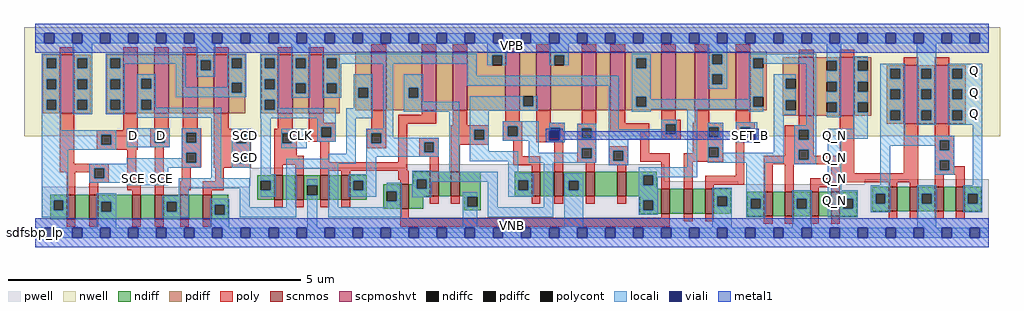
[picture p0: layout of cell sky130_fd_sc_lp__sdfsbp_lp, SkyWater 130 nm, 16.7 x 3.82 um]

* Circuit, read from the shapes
.subckt sky130_fd_sc_lp__sdfsbp_lp CLK D SCD SCE SET_B VGND VNB VPB VPWR Q Q_N
XM1 n1 SCE n2 VNB sky130_fd_pr__nfet_01v8 w=0.42 l=0.15
XM2 VGND SCE n1 VNB sky130_fd_pr__nfet_01v8 w=0.42 l=0.15
XM3 n3 n2 VGND VNB sky130_fd_pr__nfet_01v8 w=0.42 l=0.15
XM4 n4 D n3 VNB sky130_fd_pr__nfet_01v8 w=0.42 l=0.15
XM5 n5 SCE n4 VNB sky130_fd_pr__nfet_01v8 w=0.42 l=0.15
XM6 VGND SCD n5 VNB sky130_fd_pr__nfet_01v8 w=0.42 l=0.15
XM7 n6 CLK n7 VNB sky130_fd_pr__nfet_01v8 w=0.42 l=0.15
XM8 VGND CLK n6 VNB sky130_fd_pr__nfet_01v8 w=0.42 l=0.15
XM9 n8 n7 VGND VNB sky130_fd_pr__nfet_01v8 w=0.42 l=0.15
XM10 n9 n7 n8 VNB sky130_fd_pr__nfet_01v8 w=0.42 l=0.15
XM11 n10 n7 n4 VNB sky130_fd_pr__nfet_01v8 w=0.42 l=0.15
XM12 n11 n9 n10 VNB sky130_fd_pr__nfet_01v8 w=0.42 l=0.15
XM13 VGND n12 n11 VNB sky130_fd_pr__nfet_01v8 w=0.42 l=0.15
XM14 n13 n10 n12 VNB sky130_fd_pr__nfet_01v8 w=0.42 l=0.15
XM15 VGND SET_B n13 VNB sky130_fd_pr__nfet_01v8 w=0.42 l=0.15
XM16 n14 n10 VGND VNB sky130_fd_pr__nfet_01v8 w=0.42 l=0.15
XM17 n15 n9 n14 VNB sky130_fd_pr__nfet_01v8 w=0.42 l=0.15
XM18 n16 n7 n15 VNB sky130_fd_pr__nfet_01v8 w=0.42 l=0.15
XM19 n17 n18 n16 VNB sky130_fd_pr__nfet_01v8 w=0.42 l=0.15
XM20 VGND SET_B n17 VNB sky130_fd_pr__nfet_01v8 w=0.42 l=0.15
XM21 n19 n15 n18 VNB sky130_fd_pr__nfet_01v8 w=0.42 l=0.15
XM22 VGND n15 n19 VNB sky130_fd_pr__nfet_01v8 w=0.42 l=0.15
XM23 n20 n15 VGND VNB sky130_fd_pr__nfet_01v8 w=0.42 l=0.15
XM24 Q_N n15 n20 VNB sky130_fd_pr__nfet_01v8 w=0.42 l=0.15
XM25 n21 n15 n22 VNB sky130_fd_pr__nfet_01v8 w=0.42 l=0.15
XM26 VGND n15 n21 VNB sky130_fd_pr__nfet_01v8 w=0.42 l=0.15
XM27 n23 n22 VGND VNB sky130_fd_pr__nfet_01v8 w=0.42 l=0.15
XM28 Q n22 n23 VNB sky130_fd_pr__nfet_01v8 w=0.42 l=0.15
XM29 VPWR SCE n2 VPB sky130_fd_pr__pfet_01v8_hvt w=1 l=0.25
XM30 n4 n2 n24 VPB sky130_fd_pr__pfet_01v8_hvt w=1 l=0.25
XM31 n25 D n4 VPB sky130_fd_pr__pfet_01v8_hvt w=1 l=0.25
XM32 VPWR SCE n25 VPB sky130_fd_pr__pfet_01v8_hvt w=1 l=0.25
XM33 n24 SCD VPWR VPB sky130_fd_pr__pfet_01v8_hvt w=1 l=0.25
XM34 VPWR CLK n7 VPB sky130_fd_pr__pfet_01v8_hvt w=1 l=0.25
XM35 n9 n7 VPWR VPB sky130_fd_pr__pfet_01v8_hvt w=1 l=0.25
XM36 n10 n9 n4 VPB sky130_fd_pr__pfet_01v8_hvt w=1 l=0.25
XM37 n26 n7 n10 VPB sky130_fd_pr__pfet_01v8_hvt w=1 l=0.25
XM38 VPWR n12 n26 VPB sky130_fd_pr__pfet_01v8_hvt w=1 l=0.25
XM39 n12 n10 VPWR VPB sky130_fd_pr__pfet_01v8_hvt w=1 l=0.25
XM40 VPWR SET_B n12 VPB sky130_fd_pr__pfet_01v8_hvt w=1 l=0.25
XM41 n27 n10 VPWR VPB sky130_fd_pr__pfet_01v8_hvt w=1 l=0.25
XM42 n15 n7 n27 VPB sky130_fd_pr__pfet_01v8_hvt w=1 l=0.25
XM43 n28 n9 n15 VPB sky130_fd_pr__pfet_01v8_hvt w=1 l=0.25
XM44 VPWR n18 n28 VPB sky130_fd_pr__pfet_01v8_hvt w=1 l=0.25
XM45 n15 SET_B VPWR VPB sky130_fd_pr__pfet_01v8_hvt w=1 l=0.25
XM46 VPWR n15 n18 VPB sky130_fd_pr__pfet_01v8_hvt w=1 l=0.25
XM47 Q_N n15 VPWR VPB sky130_fd_pr__pfet_01v8_hvt w=1 l=0.25
XM48 VPWR n15 n22 VPB sky130_fd_pr__pfet_01v8_hvt w=1 l=0.25
XM49 Q n22 VPWR VPB sky130_fd_pr__pfet_01v8_hvt w=1 l=0.25
.ends

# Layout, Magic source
magic
tech sky130A
magscale 1 2
<< nwell >>
rect -38 331 3302 704
<< pwell >>
rect 1268 223 2153 235
rect 735 176 2153 223
rect 735 167 2406 176
rect 2839 167 3263 184
rect 735 157 3263 167
rect 25 49 3263 157
rect 0 0 3264 49
<< scnmos >>
rect 108 47 138 131
rect 186 47 216 131
rect 332 47 362 131
rect 410 47 440 131
rect 496 47 526 131
rect 574 47 604 131
rect 818 113 848 197
rect 890 113 920 197
rect 976 113 1006 197
rect 1048 113 1078 197
rect 1249 83 1279 167
rect 1351 125 1381 209
rect 1423 125 1453 209
rect 1699 125 1729 209
rect 1777 125 1807 209
rect 1885 125 1915 209
rect 1993 125 2023 209
rect 2142 66 2172 150
rect 2220 66 2250 150
rect 2293 66 2323 150
rect 2494 57 2524 141
rect 2566 57 2596 141
rect 2652 57 2682 141
rect 2724 57 2754 141
rect 2921 74 2951 158
rect 2993 74 3023 158
rect 3079 74 3109 158
rect 3151 74 3181 158
<< scpmoshvt >>
rect 84 409 134 609
rect 302 409 352 609
rect 408 409 458 609
rect 506 409 556 609
rect 612 409 662 609
rect 831 409 881 609
rect 937 409 987 609
rect 1151 419 1201 619
rect 1323 419 1373 619
rect 1429 419 1479 619
rect 1609 419 1659 619
rect 1715 419 1765 619
rect 1871 419 1921 619
rect 1969 419 2019 619
rect 2143 419 2193 619
rect 2257 419 2307 619
rect 2397 419 2447 619
rect 2614 400 2664 600
rect 2754 400 2804 600
rect 2972 374 3022 574
rect 3078 374 3128 574
<< ndiff >>
rect 761 179 818 197
rect 761 145 773 179
rect 807 145 818 179
rect 51 111 108 131
rect 51 77 63 111
rect 97 77 108 111
rect 51 47 108 77
rect 138 47 186 131
rect 216 106 332 131
rect 216 72 227 106
rect 261 72 332 106
rect 216 47 332 72
rect 362 47 410 131
rect 440 106 496 131
rect 440 72 451 106
rect 485 72 496 106
rect 440 47 496 72
rect 526 47 574 131
rect 604 96 661 131
rect 761 113 818 145
rect 848 113 890 197
rect 920 163 976 197
rect 920 129 931 163
rect 965 129 976 163
rect 920 113 976 129
rect 1006 113 1048 197
rect 1078 179 1135 197
rect 1078 145 1089 179
rect 1123 145 1135 179
rect 1294 184 1351 209
rect 1294 167 1306 184
rect 1078 113 1135 145
rect 1192 142 1249 167
rect 604 62 615 96
rect 649 62 661 96
rect 1192 108 1204 142
rect 1238 108 1249 142
rect 1192 83 1249 108
rect 1279 150 1306 167
rect 1340 150 1351 184
rect 1279 125 1351 150
rect 1381 125 1423 209
rect 1453 125 1525 209
rect 1642 180 1699 209
rect 1642 146 1654 180
rect 1688 146 1699 180
rect 1642 125 1699 146
rect 1729 125 1777 209
rect 1807 179 1885 209
rect 1807 145 1826 179
rect 1860 145 1885 179
rect 1807 125 1885 145
rect 1915 125 1993 209
rect 2023 197 2127 209
rect 2023 163 2081 197
rect 2115 163 2127 197
rect 2023 150 2127 163
rect 2023 125 2142 150
rect 1279 83 1329 125
rect 1468 123 1525 125
rect 1468 89 1479 123
rect 1513 89 1525 123
rect 2069 112 2142 125
rect 604 47 661 62
rect 1468 77 1525 89
rect 2069 78 2081 112
rect 2115 78 2142 112
rect 2069 66 2142 78
rect 2172 66 2220 150
rect 2250 66 2293 150
rect 2323 125 2380 150
rect 2323 91 2334 125
rect 2368 91 2380 125
rect 2323 66 2380 91
rect 2437 116 2494 141
rect 2437 82 2449 116
rect 2483 82 2494 116
rect 2437 57 2494 82
rect 2524 57 2566 141
rect 2596 116 2652 141
rect 2596 82 2607 116
rect 2641 82 2652 116
rect 2596 57 2652 82
rect 2682 57 2724 141
rect 2754 116 2811 141
rect 2754 82 2765 116
rect 2799 82 2811 116
rect 2754 57 2811 82
rect 2865 133 2921 158
rect 2865 99 2876 133
rect 2910 99 2921 133
rect 2865 74 2921 99
rect 2951 74 2993 158
rect 3023 133 3079 158
rect 3023 99 3034 133
rect 3068 99 3079 133
rect 3023 74 3079 99
rect 3109 74 3151 158
rect 3181 133 3237 158
rect 3181 99 3192 133
rect 3226 99 3237 133
rect 3181 74 3237 99
<< pdiff >>
rect 27 597 84 609
rect 27 563 39 597
rect 73 563 84 597
rect 27 526 84 563
rect 27 492 39 526
rect 73 492 84 526
rect 27 455 84 492
rect 27 421 39 455
rect 73 421 84 455
rect 27 409 84 421
rect 134 597 191 609
rect 134 563 145 597
rect 179 563 191 597
rect 134 526 191 563
rect 134 492 145 526
rect 179 492 191 526
rect 134 455 191 492
rect 134 421 145 455
rect 179 421 191 455
rect 134 409 191 421
rect 245 597 302 609
rect 245 563 257 597
rect 291 563 302 597
rect 245 526 302 563
rect 245 492 257 526
rect 291 492 302 526
rect 245 455 302 492
rect 245 421 257 455
rect 291 421 302 455
rect 245 409 302 421
rect 352 527 408 609
rect 352 493 363 527
rect 397 493 408 527
rect 352 455 408 493
rect 352 421 363 455
rect 397 421 408 455
rect 352 409 408 421
rect 458 409 506 609
rect 556 590 612 609
rect 556 556 567 590
rect 601 556 612 590
rect 556 409 612 556
rect 662 597 719 609
rect 662 563 673 597
rect 707 563 719 597
rect 662 514 719 563
rect 662 480 673 514
rect 707 480 719 514
rect 662 409 719 480
rect 774 597 831 609
rect 774 563 786 597
rect 820 563 831 597
rect 774 526 831 563
rect 774 492 786 526
rect 820 492 831 526
rect 774 455 831 492
rect 774 421 786 455
rect 820 421 831 455
rect 774 409 831 421
rect 881 597 937 609
rect 881 563 892 597
rect 926 563 937 597
rect 881 512 937 563
rect 881 478 892 512
rect 926 478 937 512
rect 881 409 937 478
rect 987 597 1042 609
rect 987 563 998 597
rect 1032 563 1042 597
rect 987 512 1042 563
rect 987 478 998 512
rect 1032 478 1042 512
rect 987 409 1042 478
rect 1096 496 1151 619
rect 1096 462 1106 496
rect 1140 462 1151 496
rect 1096 419 1151 462
rect 1201 496 1323 619
rect 1201 462 1278 496
rect 1312 462 1323 496
rect 1201 419 1323 462
rect 1373 419 1429 619
rect 1479 607 1609 619
rect 1479 573 1564 607
rect 1598 573 1609 607
rect 1479 419 1609 573
rect 1659 467 1715 619
rect 1659 433 1670 467
rect 1704 433 1715 467
rect 1659 419 1715 433
rect 1765 607 1871 619
rect 1765 573 1776 607
rect 1810 573 1871 607
rect 1765 419 1871 573
rect 1921 419 1969 619
rect 2019 597 2143 619
rect 2019 563 2057 597
rect 2091 563 2143 597
rect 2019 465 2143 563
rect 2019 431 2057 465
rect 2091 431 2143 465
rect 2019 419 2143 431
rect 2193 419 2257 619
rect 2307 611 2397 619
rect 2307 577 2318 611
rect 2352 577 2397 611
rect 2307 543 2397 577
rect 2307 509 2318 543
rect 2352 509 2397 543
rect 2307 419 2397 509
rect 2447 597 2504 619
rect 2447 563 2458 597
rect 2492 563 2504 597
rect 2447 465 2504 563
rect 2447 431 2458 465
rect 2492 431 2504 465
rect 2447 419 2504 431
rect 2558 527 2614 600
rect 2558 493 2569 527
rect 2603 493 2614 527
rect 2558 454 2614 493
rect 2558 420 2569 454
rect 2603 420 2614 454
rect 2558 400 2614 420
rect 2664 588 2754 600
rect 2664 554 2709 588
rect 2743 554 2754 588
rect 2664 517 2754 554
rect 2664 483 2709 517
rect 2743 483 2754 517
rect 2664 446 2754 483
rect 2664 412 2709 446
rect 2743 412 2754 446
rect 2664 400 2754 412
rect 2804 588 2861 600
rect 2804 554 2815 588
rect 2849 554 2861 588
rect 2804 517 2861 554
rect 2804 483 2815 517
rect 2849 483 2861 517
rect 2804 446 2861 483
rect 2804 412 2815 446
rect 2849 412 2861 446
rect 2804 400 2861 412
rect 2915 562 2972 574
rect 2915 528 2927 562
rect 2961 528 2972 562
rect 2915 491 2972 528
rect 2915 457 2927 491
rect 2961 457 2972 491
rect 2915 420 2972 457
rect 2915 386 2927 420
rect 2961 386 2972 420
rect 2915 374 2972 386
rect 3022 562 3078 574
rect 3022 528 3033 562
rect 3067 528 3078 562
rect 3022 491 3078 528
rect 3022 457 3033 491
rect 3067 457 3078 491
rect 3022 420 3078 457
rect 3022 386 3033 420
rect 3067 386 3078 420
rect 3022 374 3078 386
rect 3128 562 3185 574
rect 3128 528 3139 562
rect 3173 528 3185 562
rect 3128 491 3185 528
rect 3128 457 3139 491
rect 3173 457 3185 491
rect 3128 420 3185 457
rect 3128 386 3139 420
rect 3173 386 3185 420
rect 3128 374 3185 386
<< ndiffc >>
rect 773 145 807 179
rect 63 77 97 111
rect 227 72 261 106
rect 451 72 485 106
rect 931 129 965 163
rect 1089 145 1123 179
rect 615 62 649 96
rect 1204 108 1238 142
rect 1306 150 1340 184
rect 1654 146 1688 180
rect 1826 145 1860 179
rect 2081 163 2115 197
rect 1479 89 1513 123
rect 2081 78 2115 112
rect 2334 91 2368 125
rect 2449 82 2483 116
rect 2607 82 2641 116
rect 2765 82 2799 116
rect 2876 99 2910 133
rect 3034 99 3068 133
rect 3192 99 3226 133
<< pdiffc >>
rect 39 563 73 597
rect 39 492 73 526
rect 39 421 73 455
rect 145 563 179 597
rect 145 492 179 526
rect 145 421 179 455
rect 257 563 291 597
rect 257 492 291 526
rect 257 421 291 455
rect 363 493 397 527
rect 363 421 397 455
rect 567 556 601 590
rect 673 563 707 597
rect 673 480 707 514
rect 786 563 820 597
rect 786 492 820 526
rect 786 421 820 455
rect 892 563 926 597
rect 892 478 926 512
rect 998 563 1032 597
rect 998 478 1032 512
rect 1106 462 1140 496
rect 1278 462 1312 496
rect 1564 573 1598 607
rect 1670 433 1704 467
rect 1776 573 1810 607
rect 2057 563 2091 597
rect 2057 431 2091 465
rect 2318 577 2352 611
rect 2318 509 2352 543
rect 2458 563 2492 597
rect 2458 431 2492 465
rect 2569 493 2603 527
rect 2569 420 2603 454
rect 2709 554 2743 588
rect 2709 483 2743 517
rect 2709 412 2743 446
rect 2815 554 2849 588
rect 2815 483 2849 517
rect 2815 412 2849 446
rect 2927 528 2961 562
rect 2927 457 2961 491
rect 2927 386 2961 420
rect 3033 528 3067 562
rect 3033 457 3067 491
rect 3033 386 3067 420
rect 3139 528 3173 562
rect 3139 457 3173 491
rect 3139 386 3173 420
<< poly >>
rect 84 609 134 635
rect 302 609 352 635
rect 408 609 458 635
rect 506 609 556 635
rect 612 609 662 635
rect 831 609 881 635
rect 937 609 987 635
rect 1151 619 1201 645
rect 1323 619 1373 645
rect 1429 619 1479 645
rect 1609 619 1659 645
rect 1715 619 1765 645
rect 1871 619 1921 645
rect 1969 619 2019 645
rect 2143 619 2193 645
rect 2257 619 2307 645
rect 2397 619 2447 645
rect 2614 600 2664 626
rect 2754 600 2804 626
rect 84 237 134 409
rect 302 351 352 409
rect 408 358 458 409
rect 506 358 556 409
rect 211 335 352 351
rect 211 301 227 335
rect 261 301 352 335
rect 211 285 352 301
rect 394 342 460 358
rect 394 308 410 342
rect 444 308 460 342
rect 394 292 460 308
rect 502 342 568 358
rect 502 308 518 342
rect 552 308 568 342
rect 84 221 252 237
rect 84 207 202 221
rect 108 131 138 207
rect 186 187 202 207
rect 236 187 252 221
rect 186 171 252 187
rect 316 176 346 285
rect 186 131 216 171
rect 316 146 362 176
rect 332 131 362 146
rect 410 131 440 292
rect 502 274 568 308
rect 502 240 518 274
rect 552 240 568 274
rect 502 224 568 240
rect 612 356 662 409
rect 831 356 881 409
rect 937 377 987 409
rect 937 361 1029 377
rect 612 340 738 356
rect 612 306 688 340
rect 722 306 738 340
rect 612 272 738 306
rect 612 238 688 272
rect 722 238 738 272
rect 502 176 532 224
rect 612 222 738 238
rect 818 340 895 356
rect 818 306 845 340
rect 879 306 895 340
rect 937 327 979 361
rect 1013 327 1029 361
rect 1151 356 1201 419
rect 1323 404 1373 419
rect 937 311 1029 327
rect 1135 340 1201 356
rect 818 263 895 306
rect 818 233 920 263
rect 616 176 646 222
rect 818 197 848 233
rect 890 197 920 233
rect 976 242 1006 311
rect 1135 306 1151 340
rect 1185 306 1201 340
rect 1135 290 1201 306
rect 1243 374 1373 404
rect 1243 242 1273 374
rect 1429 368 1479 419
rect 1609 381 1659 419
rect 1423 352 1553 368
rect 1315 310 1381 326
rect 1315 276 1331 310
rect 1365 276 1381 310
rect 1315 260 1381 276
rect 976 212 1273 242
rect 976 197 1006 212
rect 1048 197 1078 212
rect 496 146 532 176
rect 574 146 646 176
rect 496 131 526 146
rect 574 131 604 146
rect 1243 182 1279 212
rect 1351 209 1381 260
rect 1423 318 1503 352
rect 1537 318 1553 352
rect 1423 302 1553 318
rect 1601 365 1667 381
rect 1601 331 1617 365
rect 1651 331 1667 365
rect 1601 315 1667 331
rect 1423 209 1453 302
rect 1637 262 1667 315
rect 1715 376 1765 419
rect 1715 360 1813 376
rect 1871 374 1921 419
rect 1715 326 1763 360
rect 1797 326 1813 360
rect 1715 310 1813 326
rect 1855 358 1921 374
rect 1855 324 1871 358
rect 1905 324 1921 358
rect 1969 375 2019 419
rect 2143 387 2193 419
rect 1969 345 2101 375
rect 1637 232 1729 262
rect 1699 209 1729 232
rect 1777 209 1807 310
rect 1855 290 1921 324
rect 1855 256 1871 290
rect 1905 256 1921 290
rect 1855 240 1921 256
rect 1963 281 2029 297
rect 1963 247 1979 281
rect 2013 247 2029 281
rect 1885 209 1915 240
rect 1963 231 2029 247
rect 2071 273 2101 345
rect 2143 371 2209 387
rect 2257 377 2307 419
rect 2397 378 2447 419
rect 2972 574 3022 600
rect 3078 574 3128 600
rect 2143 337 2159 371
rect 2193 337 2209 371
rect 2143 321 2209 337
rect 2251 361 2355 377
rect 2251 327 2305 361
rect 2339 327 2355 361
rect 2251 293 2355 327
rect 2251 273 2305 293
rect 2071 243 2172 273
rect 1993 209 2023 231
rect 1249 167 1279 182
rect 818 87 848 113
rect 890 87 920 113
rect 976 87 1006 113
rect 1048 87 1078 113
rect 2142 150 2172 243
rect 2220 259 2305 273
rect 2339 259 2355 293
rect 2220 243 2355 259
rect 2397 362 2463 378
rect 2614 368 2664 400
rect 2397 328 2413 362
rect 2447 328 2463 362
rect 2397 312 2463 328
rect 2566 352 2664 368
rect 2566 318 2614 352
rect 2648 318 2664 352
rect 2220 150 2250 243
rect 2397 195 2427 312
rect 2566 284 2664 318
rect 2566 264 2614 284
rect 2293 165 2427 195
rect 2494 250 2614 264
rect 2648 264 2664 284
rect 2754 264 2804 400
rect 2648 250 2804 264
rect 2494 234 2804 250
rect 2293 150 2323 165
rect 1351 99 1381 125
rect 1423 99 1453 125
rect 1699 99 1729 125
rect 1777 99 1807 125
rect 1885 99 1915 125
rect 1993 99 2023 125
rect 1249 51 1279 83
rect 2494 141 2524 234
rect 2566 141 2596 234
rect 2724 203 2804 234
rect 2972 203 3022 374
rect 3078 332 3128 374
rect 3079 316 3145 332
rect 3079 282 3095 316
rect 3129 282 3145 316
rect 3079 248 3145 282
rect 3079 214 3095 248
rect 3129 228 3145 248
rect 3129 214 3181 228
rect 2724 186 3023 203
rect 2652 173 3023 186
rect 2652 156 2754 173
rect 2921 158 2951 173
rect 2993 158 3023 173
rect 3079 198 3181 214
rect 3079 158 3109 198
rect 3151 158 3181 198
rect 2652 141 2682 156
rect 2724 141 2754 156
rect 2142 51 2172 66
rect 108 21 138 47
rect 186 21 216 47
rect 332 21 362 47
rect 410 21 440 47
rect 496 21 526 47
rect 574 21 604 47
rect 1249 21 2172 51
rect 2220 40 2250 66
rect 2293 40 2323 66
rect 2494 31 2524 57
rect 2566 31 2596 57
rect 2652 31 2682 57
rect 2724 31 2754 57
rect 2921 48 2951 74
rect 2993 48 3023 74
rect 3079 48 3109 74
rect 3151 48 3181 74
<< polycont >>
rect 227 301 261 335
rect 410 308 444 342
rect 518 308 552 342
rect 202 187 236 221
rect 518 240 552 274
rect 688 306 722 340
rect 688 238 722 272
rect 845 306 879 340
rect 979 327 1013 361
rect 1151 306 1185 340
rect 1331 276 1365 310
rect 1503 318 1537 352
rect 1617 331 1651 365
rect 1763 326 1797 360
rect 1871 324 1905 358
rect 1871 256 1905 290
rect 1979 247 2013 281
rect 2159 337 2193 371
rect 2305 327 2339 361
rect 2305 259 2339 293
rect 2413 328 2447 362
rect 2614 318 2648 352
rect 2614 250 2648 284
rect 3095 282 3129 316
rect 3095 214 3129 248
<< locali >>
rect 0 649 31 683
rect 65 649 127 683
rect 161 649 223 683
rect 257 649 319 683
rect 353 649 415 683
rect 449 649 511 683
rect 545 649 607 683
rect 641 649 703 683
rect 737 649 799 683
rect 833 649 895 683
rect 929 649 991 683
rect 1025 649 1087 683
rect 1121 649 1183 683
rect 1217 649 1279 683
rect 1313 649 1375 683
rect 1409 649 1471 683
rect 1505 649 1567 683
rect 1601 649 1663 683
rect 1697 649 1759 683
rect 1793 649 1855 683
rect 1889 649 1951 683
rect 1985 649 2047 683
rect 2081 649 2143 683
rect 2177 649 2239 683
rect 2273 649 2335 683
rect 2369 649 2431 683
rect 2465 649 2527 683
rect 2561 649 2623 683
rect 2657 649 2719 683
rect 2753 649 2815 683
rect 2849 649 2911 683
rect 2945 649 3007 683
rect 3041 649 3103 683
rect 3137 649 3199 683
rect 3233 649 3264 683
rect 23 597 89 613
rect 23 563 39 597
rect 73 563 89 597
rect 23 526 89 563
rect 23 492 39 526
rect 73 492 89 526
rect 23 455 89 492
rect 23 421 39 455
rect 73 421 89 455
rect 23 351 89 421
rect 129 597 195 649
rect 129 563 145 597
rect 179 563 195 597
rect 129 526 195 563
rect 129 492 145 526
rect 179 492 195 526
rect 129 455 195 492
rect 129 421 145 455
rect 179 421 195 455
rect 129 405 195 421
rect 241 597 515 613
rect 241 563 257 597
rect 291 579 515 597
rect 291 563 307 579
rect 241 526 307 563
rect 241 492 257 526
rect 291 492 307 526
rect 241 455 307 492
rect 241 421 257 455
rect 291 421 307 455
rect 241 405 307 421
rect 347 527 413 543
rect 347 493 363 527
rect 397 493 413 527
rect 347 455 413 493
rect 481 498 515 579
rect 551 590 617 649
rect 551 556 567 590
rect 601 556 617 590
rect 551 534 617 556
rect 657 597 723 613
rect 657 563 673 597
rect 707 563 723 597
rect 657 514 723 563
rect 657 498 673 514
rect 481 480 673 498
rect 707 480 723 514
rect 481 464 723 480
rect 770 597 836 613
rect 770 563 786 597
rect 820 563 836 597
rect 770 526 836 563
rect 770 492 786 526
rect 820 492 836 526
rect 347 421 363 455
rect 397 428 413 455
rect 770 455 836 492
rect 876 597 942 649
rect 876 563 892 597
rect 926 563 942 597
rect 876 512 942 563
rect 876 478 892 512
rect 926 478 942 512
rect 876 462 942 478
rect 982 597 1512 613
rect 982 563 998 597
rect 1032 579 1512 597
rect 1032 563 1048 579
rect 982 512 1048 563
rect 982 478 998 512
rect 1032 478 1048 512
rect 982 462 1048 478
rect 1090 496 1156 543
rect 1090 462 1106 496
rect 1140 462 1156 496
rect 397 421 637 428
rect 347 394 637 421
rect 23 335 277 351
rect 23 301 227 335
rect 261 301 277 335
rect 23 285 277 301
rect 313 342 460 358
rect 313 308 410 342
rect 444 308 460 342
rect 313 292 460 308
rect 502 342 567 358
rect 502 308 518 342
rect 552 308 567 342
rect 23 111 113 285
rect 502 274 567 308
rect 502 256 518 274
rect 313 240 518 256
rect 552 240 567 274
rect 313 237 567 240
rect 186 222 567 237
rect 186 221 455 222
rect 186 187 202 221
rect 236 187 455 221
rect 186 171 455 187
rect 603 186 637 394
rect 770 421 786 455
rect 820 426 836 455
rect 1090 426 1156 462
rect 820 421 1028 426
rect 770 392 1028 421
rect 673 340 737 356
rect 673 306 688 340
rect 722 306 737 340
rect 673 272 737 306
rect 673 238 688 272
rect 722 238 737 272
rect 673 222 737 238
rect 773 201 807 392
rect 965 361 1028 392
rect 843 340 929 356
rect 843 306 845 340
rect 879 306 929 340
rect 965 327 979 361
rect 1013 327 1028 361
rect 965 311 1028 327
rect 1064 392 1156 426
rect 843 290 929 306
rect 1064 271 1098 392
rect 1192 356 1226 579
rect 1262 496 1328 543
rect 1478 537 1512 579
rect 1548 607 1614 649
rect 1548 573 1564 607
rect 1598 573 1614 607
rect 1760 607 1826 649
rect 1760 573 1776 607
rect 1810 573 1826 607
rect 2041 597 2107 613
rect 2041 563 2057 597
rect 2091 563 2107 597
rect 1478 503 1997 537
rect 1262 462 1278 496
rect 1312 462 1328 496
rect 1262 449 1328 462
rect 1262 415 1451 449
rect 1003 254 1098 271
rect 859 237 1098 254
rect 1134 340 1226 356
rect 1134 306 1151 340
rect 1185 326 1226 340
rect 1185 310 1381 326
rect 1185 306 1331 310
rect 1134 276 1331 306
rect 1365 276 1381 310
rect 1134 260 1381 276
rect 859 220 1037 237
rect 313 162 455 171
rect 491 152 735 186
rect 23 77 63 111
rect 97 77 113 111
rect 23 53 113 77
rect 211 106 277 135
rect 491 126 525 152
rect 211 72 227 106
rect 261 72 277 106
rect 211 17 277 72
rect 435 106 525 126
rect 435 72 451 106
rect 485 72 525 106
rect 435 53 525 72
rect 599 96 665 116
rect 599 62 615 96
rect 649 62 665 96
rect 599 17 665 62
rect 701 87 735 152
rect 773 179 823 201
rect 807 145 823 179
rect 773 123 823 145
rect 859 87 893 220
rect 701 53 893 87
rect 931 163 965 184
rect 931 17 965 129
rect 1003 87 1037 220
rect 1134 201 1168 260
rect 1073 179 1168 201
rect 1073 145 1089 179
rect 1123 145 1168 179
rect 1290 209 1356 213
rect 1417 209 1451 415
rect 1487 433 1670 467
rect 1704 433 1720 467
rect 1487 417 1720 433
rect 1487 352 1553 417
rect 1487 318 1503 352
rect 1537 318 1553 352
rect 1487 279 1553 318
rect 1601 365 1723 381
rect 1601 331 1617 365
rect 1651 331 1723 365
rect 1601 315 1723 331
rect 1487 245 1653 279
rect 1290 184 1583 209
rect 1073 123 1168 145
rect 1204 142 1254 171
rect 1238 108 1254 142
rect 1290 150 1306 184
rect 1340 175 1583 184
rect 1340 150 1356 175
rect 1290 121 1356 150
rect 1463 123 1513 139
rect 1204 87 1254 108
rect 1003 53 1254 87
rect 1463 89 1479 123
rect 1463 17 1513 89
rect 1549 87 1583 175
rect 1619 204 1653 245
rect 1689 274 1723 315
rect 1759 360 1813 376
rect 1759 350 1763 360
rect 1797 326 1813 360
rect 1793 316 1813 326
rect 1759 310 1813 316
rect 1855 358 1921 374
rect 1855 324 1871 358
rect 1905 324 1921 358
rect 1855 290 1921 324
rect 1855 274 1871 290
rect 1689 256 1871 274
rect 1905 256 1921 290
rect 1689 240 1921 256
rect 1963 355 1997 503
rect 2041 465 2107 563
rect 2302 611 2368 649
rect 2302 577 2318 611
rect 2352 577 2368 611
rect 2302 543 2368 577
rect 2302 509 2318 543
rect 2352 509 2368 543
rect 2302 493 2368 509
rect 2442 597 2673 613
rect 2442 563 2458 597
rect 2492 579 2673 597
rect 2041 431 2057 465
rect 2091 457 2107 465
rect 2442 465 2492 563
rect 2442 457 2458 465
rect 2091 431 2458 457
rect 2041 423 2492 431
rect 2041 415 2107 423
rect 2143 371 2196 387
rect 2143 355 2159 371
rect 1963 337 2159 355
rect 2193 337 2196 371
rect 1963 321 2196 337
rect 1963 281 2029 321
rect 1963 247 1979 281
rect 2013 247 2029 281
rect 1619 180 1704 204
rect 1619 146 1654 180
rect 1688 146 1704 180
rect 1619 123 1704 146
rect 1740 87 1774 240
rect 1963 231 2029 247
rect 2232 224 2266 423
rect 2442 415 2492 423
rect 2528 527 2603 543
rect 2528 493 2569 527
rect 2528 454 2603 493
rect 2528 420 2569 454
rect 2528 404 2603 420
rect 2302 361 2355 377
rect 2302 327 2305 361
rect 2339 327 2355 361
rect 2302 293 2355 327
rect 2397 362 2471 378
rect 2397 328 2413 362
rect 2447 350 2471 362
rect 2397 316 2431 328
rect 2465 316 2471 350
rect 2397 310 2471 316
rect 2302 259 2305 293
rect 2339 274 2355 293
rect 2528 274 2562 404
rect 2639 368 2673 579
rect 2709 588 2759 649
rect 2743 554 2759 588
rect 2709 517 2759 554
rect 2743 483 2759 517
rect 2709 446 2759 483
rect 2743 412 2759 446
rect 2709 396 2759 412
rect 2799 588 2849 604
rect 2799 554 2815 588
rect 2799 517 2849 554
rect 2799 483 2815 517
rect 2799 446 2849 483
rect 2799 412 2815 446
rect 2339 259 2562 274
rect 2302 240 2562 259
rect 2598 352 2673 368
rect 2799 356 2849 412
rect 2598 318 2614 352
rect 2648 318 2673 352
rect 2598 284 2673 318
rect 2598 250 2614 284
rect 2648 250 2673 284
rect 1549 53 1774 87
rect 1810 179 1876 204
rect 1810 145 1826 179
rect 1860 145 1876 179
rect 1810 17 1876 145
rect 2065 197 2266 224
rect 2065 163 2081 197
rect 2115 190 2266 197
rect 2115 163 2131 190
rect 2065 112 2131 163
rect 2065 78 2081 112
rect 2115 78 2131 112
rect 2065 62 2131 78
rect 2318 125 2384 154
rect 2318 91 2334 125
rect 2368 91 2384 125
rect 2318 17 2384 91
rect 2433 116 2499 240
rect 2598 234 2673 250
rect 2713 322 2849 356
rect 2892 562 2977 578
rect 2892 528 2927 562
rect 2961 528 2977 562
rect 2892 491 2977 528
rect 2892 457 2927 491
rect 2961 457 2977 491
rect 2892 420 2977 457
rect 2892 386 2927 420
rect 2961 386 2977 420
rect 2892 332 2977 386
rect 3017 562 3083 649
rect 3017 528 3033 562
rect 3067 528 3083 562
rect 3017 491 3083 528
rect 3017 457 3033 491
rect 3067 457 3083 491
rect 3017 420 3083 457
rect 3017 386 3033 420
rect 3067 386 3083 420
rect 3017 370 3083 386
rect 3123 562 3242 578
rect 3123 528 3139 562
rect 3173 528 3242 562
rect 3123 491 3242 528
rect 3123 457 3139 491
rect 3173 457 3242 491
rect 3123 420 3242 457
rect 3123 386 3139 420
rect 3173 386 3242 420
rect 3123 370 3242 386
rect 2713 145 2759 322
rect 2892 316 3145 332
rect 2892 298 3095 316
rect 2892 162 2926 298
rect 3079 282 3095 298
rect 3129 282 3145 316
rect 3079 248 3145 282
rect 3079 214 3095 248
rect 3129 214 3145 248
rect 3079 198 3145 214
rect 3208 162 3242 370
rect 2433 82 2449 116
rect 2483 82 2499 116
rect 2433 53 2499 82
rect 2591 116 2657 145
rect 2591 82 2607 116
rect 2641 82 2657 116
rect 2591 17 2657 82
rect 2713 116 2815 145
rect 2713 82 2765 116
rect 2799 82 2815 116
rect 2713 53 2815 82
rect 2860 133 2926 162
rect 2860 99 2876 133
rect 2910 99 2926 133
rect 2860 70 2926 99
rect 3018 133 3084 162
rect 3018 99 3034 133
rect 3068 99 3084 133
rect 3018 17 3084 99
rect 3176 133 3242 162
rect 3176 99 3192 133
rect 3226 99 3242 133
rect 3176 70 3242 99
rect 0 -17 31 17
rect 65 -17 127 17
rect 161 -17 223 17
rect 257 -17 319 17
rect 353 -17 415 17
rect 449 -17 511 17
rect 545 -17 607 17
rect 641 -17 703 17
rect 737 -17 799 17
rect 833 -17 895 17
rect 929 -17 991 17
rect 1025 -17 1087 17
rect 1121 -17 1183 17
rect 1217 -17 1279 17
rect 1313 -17 1375 17
rect 1409 -17 1471 17
rect 1505 -17 1567 17
rect 1601 -17 1663 17
rect 1697 -17 1759 17
rect 1793 -17 1855 17
rect 1889 -17 1951 17
rect 1985 -17 2047 17
rect 2081 -17 2143 17
rect 2177 -17 2239 17
rect 2273 -17 2335 17
rect 2369 -17 2431 17
rect 2465 -17 2527 17
rect 2561 -17 2623 17
rect 2657 -17 2719 17
rect 2753 -17 2815 17
rect 2849 -17 2911 17
rect 2945 -17 3007 17
rect 3041 -17 3103 17
rect 3137 -17 3199 17
rect 3233 -17 3264 17
<< viali >>
rect 31 649 65 683
rect 127 649 161 683
rect 223 649 257 683
rect 319 649 353 683
rect 415 649 449 683
rect 511 649 545 683
rect 607 649 641 683
rect 703 649 737 683
rect 799 649 833 683
rect 895 649 929 683
rect 991 649 1025 683
rect 1087 649 1121 683
rect 1183 649 1217 683
rect 1279 649 1313 683
rect 1375 649 1409 683
rect 1471 649 1505 683
rect 1567 649 1601 683
rect 1663 649 1697 683
rect 1759 649 1793 683
rect 1855 649 1889 683
rect 1951 649 1985 683
rect 2047 649 2081 683
rect 2143 649 2177 683
rect 2239 649 2273 683
rect 2335 649 2369 683
rect 2431 649 2465 683
rect 2527 649 2561 683
rect 2623 649 2657 683
rect 2719 649 2753 683
rect 2815 649 2849 683
rect 2911 649 2945 683
rect 3007 649 3041 683
rect 3103 649 3137 683
rect 3199 649 3233 683
rect 1759 326 1763 350
rect 1763 326 1793 350
rect 1759 316 1793 326
rect 2431 328 2447 350
rect 2447 328 2465 350
rect 2431 316 2465 328
rect 31 -17 65 17
rect 127 -17 161 17
rect 223 -17 257 17
rect 319 -17 353 17
rect 415 -17 449 17
rect 511 -17 545 17
rect 607 -17 641 17
rect 703 -17 737 17
rect 799 -17 833 17
rect 895 -17 929 17
rect 991 -17 1025 17
rect 1087 -17 1121 17
rect 1183 -17 1217 17
rect 1279 -17 1313 17
rect 1375 -17 1409 17
rect 1471 -17 1505 17
rect 1567 -17 1601 17
rect 1663 -17 1697 17
rect 1759 -17 1793 17
rect 1855 -17 1889 17
rect 1951 -17 1985 17
rect 2047 -17 2081 17
rect 2143 -17 2177 17
rect 2239 -17 2273 17
rect 2335 -17 2369 17
rect 2431 -17 2465 17
rect 2527 -17 2561 17
rect 2623 -17 2657 17
rect 2719 -17 2753 17
rect 2815 -17 2849 17
rect 2911 -17 2945 17
rect 3007 -17 3041 17
rect 3103 -17 3137 17
rect 3199 -17 3233 17
<< metal1 >>
rect 0 683 3264 715
rect 0 649 31 683
rect 65 649 127 683
rect 161 649 223 683
rect 257 649 319 683
rect 353 649 415 683
rect 449 649 511 683
rect 545 649 607 683
rect 641 649 703 683
rect 737 649 799 683
rect 833 649 895 683
rect 929 649 991 683
rect 1025 649 1087 683
rect 1121 649 1183 683
rect 1217 649 1279 683
rect 1313 649 1375 683
rect 1409 649 1471 683
rect 1505 649 1567 683
rect 1601 649 1663 683
rect 1697 649 1759 683
rect 1793 649 1855 683
rect 1889 649 1951 683
rect 1985 649 2047 683
rect 2081 649 2143 683
rect 2177 649 2239 683
rect 2273 649 2335 683
rect 2369 649 2431 683
rect 2465 649 2527 683
rect 2561 649 2623 683
rect 2657 649 2719 683
rect 2753 649 2815 683
rect 2849 649 2911 683
rect 2945 649 3007 683
rect 3041 649 3103 683
rect 3137 649 3199 683
rect 3233 649 3264 683
rect 0 617 3264 649
rect 1747 350 1805 356
rect 1747 316 1759 350
rect 1793 347 1805 350
rect 2419 350 2477 356
rect 2419 347 2431 350
rect 1793 319 2431 347
rect 1793 316 1805 319
rect 1747 310 1805 316
rect 2419 316 2431 319
rect 2465 316 2477 350
rect 2419 310 2477 316
rect 0 17 3264 49
rect 0 -17 31 17
rect 65 -17 127 17
rect 161 -17 223 17
rect 257 -17 319 17
rect 353 -17 415 17
rect 449 -17 511 17
rect 545 -17 607 17
rect 641 -17 703 17
rect 737 -17 799 17
rect 833 -17 895 17
rect 929 -17 991 17
rect 1025 -17 1087 17
rect 1121 -17 1183 17
rect 1217 -17 1279 17
rect 1313 -17 1375 17
rect 1409 -17 1471 17
rect 1505 -17 1567 17
rect 1601 -17 1663 17
rect 1697 -17 1759 17
rect 1793 -17 1855 17
rect 1889 -17 1951 17
rect 1985 -17 2047 17
rect 2081 -17 2143 17
rect 2177 -17 2239 17
rect 2273 -17 2335 17
rect 2369 -17 2431 17
rect 2465 -17 2527 17
rect 2561 -17 2623 17
rect 2657 -17 2719 17
rect 2753 -17 2815 17
rect 2849 -17 2911 17
rect 2945 -17 3007 17
rect 3041 -17 3103 17
rect 3137 -17 3199 17
rect 3233 -17 3264 17
rect 0 -49 3264 -17
<< labels >>
flabel pwell s 0 0 3264 49 0 FreeSans 200 0 0 0 VNB
port 7 nsew ground bidirectional
flabel nwell s 0 617 3264 666 0 FreeSans 200 0 0 0 VPB
port 8 nsew power bidirectional
rlabel comment s 0 0 0 0 4 sdfsbp_lp
flabel metal1 s 2431 316 2465 350 0 FreeSans 340 0 0 0 SET_B
port 5 nsew signal input
flabel metal1 s 0 617 3264 666 0 FreeSans 340 0 0 0 VPWR
port 9 nsew power bidirectional
flabel metal1 s 0 0 3264 49 0 FreeSans 340 0 0 0 VGND
port 6 nsew ground bidirectional
flabel locali s 895 316 929 350 0 FreeSans 340 0 0 0 CLK
port 1 nsew clock input
flabel locali s 703 242 737 276 0 FreeSans 340 0 0 0 SCD
port 3 nsew signal input
flabel locali s 703 316 737 350 0 FreeSans 340 0 0 0 SCD
port 3 nsew signal input
flabel locali s 319 316 353 350 0 FreeSans 340 0 0 0 D
port 2 nsew signal input
flabel locali s 415 316 449 350 0 FreeSans 340 0 0 0 D
port 2 nsew signal input
flabel locali s 2719 94 2753 128 0 FreeSans 340 0 0 0 Q_N
port 11 nsew signal output
flabel locali s 2719 168 2753 202 0 FreeSans 340 0 0 0 Q_N
port 11 nsew signal output
flabel locali s 2719 242 2753 276 0 FreeSans 340 0 0 0 Q_N
port 11 nsew signal output
flabel locali s 2719 316 2753 350 0 FreeSans 340 0 0 0 Q_N
port 11 nsew signal output
flabel locali s 3199 390 3233 424 0 FreeSans 340 0 0 0 Q
port 10 nsew signal output
flabel locali s 3199 464 3233 498 0 FreeSans 340 0 0 0 Q
port 10 nsew signal output
flabel locali s 3199 538 3233 572 0 FreeSans 340 0 0 0 Q
port 10 nsew signal output
flabel locali s 319 168 353 202 0 FreeSans 340 0 0 0 SCE
port 4 nsew signal input
flabel locali s 415 168 449 202 0 FreeSans 340 0 0 0 SCE
port 4 nsew signal input
<< properties >>
string LEFsite unit
string LEFclass CORE
string FIXED_BBOX 0 0 3264 666
string GDS_FILE $PDKPATH/libs.ref/sky130_fd_sc_lp/gds/sky130_fd_sc_lp.gds
string LEFsymmetry X Y R90
string GDS_END 5593914
string GDS_START 5572226
<< end >>
